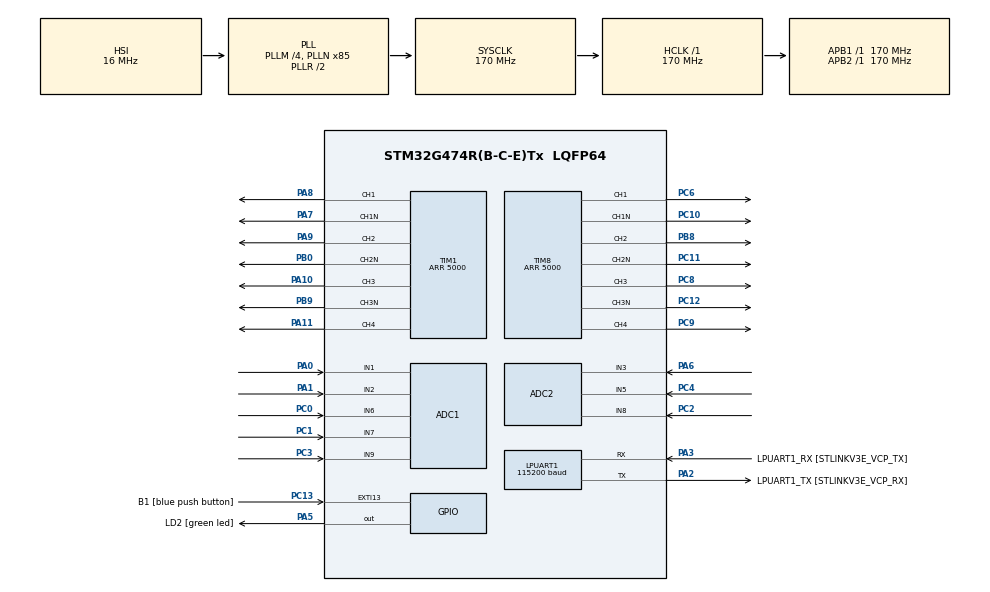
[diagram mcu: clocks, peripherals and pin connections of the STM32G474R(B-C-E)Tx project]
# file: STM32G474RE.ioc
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ADC1.Channel-0\#ChannelRegularConversion=ADC_CHANNEL_1
ADC1.EnableInjectedConversion=ENABLE
ADC1.ExternalTrigInjecConv=ADC_EXTERNALTRIGINJEC_T1_TRGO
ADC1.InjNumberOfConversion=3
ADC1.InjectedChannel-1\#ChannelInjectedConversion=ADC_CHANNEL_1
ADC1.InjectedChannel-2\#ChannelInjectedConversion=ADC_CHANNEL_7
ADC1.InjectedChannel-3\#ChannelInjectedConversion=ADC_CHANNEL_6
ADC1.InjectedOffsetNumber-1\#ChannelInjectedConversion=ADC_OFFSET_NONE
ADC1.InjectedOffsetNumber-2\#ChannelInjectedConversion=ADC_OFFSET_NONE
ADC1.InjectedOffsetNumber-3\#ChannelInjectedConversion=ADC_OFFSET_NONE
ADC1.InjectedRank-1\#ChannelInjectedConversion=1
ADC1.InjectedRank-2\#ChannelInjectedConversion=2
ADC1.InjectedRank-3\#ChannelInjectedConversion=3
ADC1.InjectedSamplingTime-1\#ChannelInjectedConversion=ADC_SAMPLETIME_2CYCLES_5
ADC1.InjectedSamplingTime-2\#ChannelInjectedConversion=ADC_SAMPLETIME_2CYCLES_5
ADC1.InjectedSamplingTime-3\#ChannelInjectedConversion=ADC_SAMPLETIME_2CYCLES_5
ADC1.NbrOfConversionFlag=1
ADC1.OffsetNumber-0\#ChannelRegularConversion=ADC_OFFSET_NONE
ADC1.Rank-0\#ChannelRegularConversion=1
ADC1.SamplingTime-0\#ChannelRegularConversion=ADC_SAMPLETIME_2CYCLES_5
ADC1.master=1
ADC2.Channel-0\#ChannelRegularConversion=ADC_CHANNEL_3
ADC2.EnableInjectedConversion=ENABLE
ADC2.ExternalTrigInjecConv=ADC_EXTERNALTRIGINJEC_T8_TRGO
ADC2.InjNumberOfConversion=3
ADC2.InjectedChannel-1\#ChannelInjectedConversion=ADC_CHANNEL_3
ADC2.InjectedChannel-2\#ChannelInjectedConversion=ADC_CHANNEL_5
ADC2.InjectedChannel-3\#ChannelInjectedConversion=ADC_CHANNEL_8
ADC2.InjectedOffsetNumber-1\#ChannelInjectedConversion=ADC_OFFSET_NONE
ADC2.InjectedOffsetNumber-2\#ChannelInjectedConversion=ADC_OFFSET_NONE
ADC2.InjectedOffsetNumber-3\#ChannelInjectedConversion=ADC_OFFSET_NONE
ADC2.InjectedRank-1\#ChannelInjectedConversion=1
ADC2.InjectedRank-2\#ChannelInjectedConversion=2
ADC2.InjectedRank-3\#ChannelInjectedConversion=3
ADC2.InjectedSamplingTime-1\#ChannelInjectedConversion=ADC_SAMPLETIME_2CYCLES_5
ADC2.InjectedSamplingTime-2\#ChannelInjectedConversion=ADC_SAMPLETIME_2CYCLES_5
ADC2.InjectedSamplingTime-3\#ChannelInjectedConversion=ADC_SAMPLETIME_2CYCLES_5
ADC2.NbrOfConversionFlag=1
ADC2.OffsetNumber-0\#ChannelRegularConversion=ADC_OFFSET_NONE
ADC2.Rank-0\#ChannelRegularConversion=1
ADC2.Rank3_Channel=ADC_CHANNEL_8
ADC2.SamplingTime-0\#ChannelRegularConversion=ADC_SAMPLETIME_2CYCLES_5
LPUART1.BaudRate=115200
LPUART1.WordLength=UART_WORDLENGTH_8B
Mcu.Family=STM32G4
Mcu.Name=STM32G474R(B-C-E)Tx
Mcu.Package=LQFP64
NVIC.ADC1_2_IRQn=true\:0\:0\:false\:false\:true\:true\:true\:true
NVIC.EXTI15_10_IRQn=true\:0\:0\:false\:false\:true\:true\:true\:true
NVIC.PriorityGroup=NVIC_PRIORITYGROUP_4
PA0.Mode=IN1-Single-Ended
PA0.Signal=ADC1_IN1
PA1.Mode=IN2-Single-Ended
PA1.Signal=ADC1_IN2
PA10.Signal=S_TIM1_CH3
PA11.Signal=S_TIM1_CH4
PA13.GPIO_Label=T_SWDIO
PA13.Mode=Serial_Wire
PA13.Signal=SYS_JTMS-SWDIO
PA14.GPIO_Label=T_SWCLK
PA14.Mode=Serial_Wire
PA14.Signal=SYS_JTCK-SWCLK
PA2.GPIO_Label=LPUART1_TX [STLINKV3E_VCP_RX]
PA2.Mode=Asynchronous
PA2.Signal=LPUART1_TX
PA3.GPIO_Label=LPUART1_RX [STLINKV3E_VCP_TX]
PA3.Mode=Asynchronous
PA3.Signal=LPUART1_RX
PA5.GPIO_Label=LD2 [green led]
PA5.Signal=GPIO_Output
PA6.Mode=IN3-Single-Ended
PA6.Signal=ADC2_IN3
PA7.Mode=PWM Generation1 CH1 CH1N
PA7.Signal=TIM1_CH1N
PA8.Signal=S_TIM1_CH1
PA9.Signal=S_TIM1_CH2
PB0.Mode=PWM Generation2 CH2 CH2N
PB0.Signal=TIM1_CH2N
PB3.GPIO_Label=T_SWO
PB3.Signal=SYS_JTDO-SWO
PB8-BOOT0.Signal=S_TIM8_CH2
PB9.Mode=PWM Generation3 CH3 CH3N
PB9.Signal=TIM1_CH3N
PC0.Mode=IN6-Single-Ended
PC0.Signal=ADC1_IN6
PC1.Mode=IN7-Single-Ended
PC1.Signal=ADC1_IN7
PC10.Mode=PWM Generation1 CH1 CH1N
PC10.Signal=TIM8_CH1N
PC11.Mode=PWM Generation2 CH2 CH2N
PC11.Signal=TIM8_CH2N
PC12.Mode=PWM Generation3 CH3 CH3N
PC12.Signal=TIM8_CH3N
PC13.GPIO_Label=B1 [blue push button]
PC13.Signal=GPXTI13
PC14-OSC32_IN.Mode=LSE-External-Oscillator
PC14-OSC32_IN.Signal=RCC_OSC32_IN
PC15-OSC32_OUT.Mode=LSE-External-Oscillator
PC15-OSC32_OUT.Signal=RCC_OSC32_OUT
PC2.Signal=SharedAnalog_PC2
PC3.Mode=IN9-Single-Ended
PC3.Signal=ADC1_IN9
PC4.Mode=IN5-Single-Ended
PC4.Signal=ADC2_IN5
PC6.Signal=S_TIM8_CH1
PC8.Signal=S_TIM8_CH3
PC9.Signal=S_TIM8_CH4
PF0-OSC_IN.Mode=HSE-External-Oscillator
PF0-OSC_IN.Signal=RCC_OSC_IN
PF1-OSC_OUT.Mode=HSE-External-Oscillator
PF1-OSC_OUT.Signal=RCC_OSC_OUT
ProjectManager.HeapSize=0x200
ProjectManager.StackSize=0x400
ProjectManager.TargetToolchain=STM32CubeIDE
RCC.ADC12Freq_Value=170000000
RCC.ADC345Freq_Value=170000000
RCC.AHBFreq_Value=170000000
RCC.APB1Freq_Value=170000000
RCC.APB1TimFreq_Value=170000000
RCC.APB2Freq_Value=170000000
RCC.APB2TimFreq_Value=170000000
RCC.CortexFreq_Value=170000000
RCC.EXTERNAL_CLOCK_VALUE=12288000
RCC.HCLKFreq_Value=170000000
RCC.HSE_VALUE=24000000
RCC.HSI48_VALUE=48000000
RCC.HSI_VALUE=16000000
RCC.PLLM=RCC_PLLM_DIV4
RCC.PLLN=85
RCC.RTCClockSelection=RCC_RTCCLKSOURCE_LSE
RCC.SYSCLKFreq_VALUE=170000000
RCC.SYSCLKSource=RCC_SYSCLKSOURCE_PLLCLK
RCC.USBFreq_Value=170000000
RCC.VCOOutputFreq_Value=340000000
SH.S_TIM1_CH1.0=TIM1_CH1,PWM Generation1 CH1 CH1N
SH.S_TIM1_CH2.0=TIM1_CH2,PWM Generation2 CH2 CH2N
SH.S_TIM1_CH3.0=TIM1_CH3,PWM Generation3 CH3 CH3N
SH.S_TIM1_CH4.0=TIM1_CH4,PWM Generation4 CH4
SH.S_TIM8_CH1.0=TIM8_CH1,PWM Generation1 CH1 CH1N
SH.S_TIM8_CH2.0=TIM8_CH2,PWM Generation2 CH2 CH2N
SH.S_TIM8_CH3.0=TIM8_CH3,PWM Generation3 CH3 CH3N
SH.S_TIM8_CH4.0=TIM8_CH4,PWM Generation4 CH4
SH.SharedAnalog_PC2.0=ADC1_IN8
SH.SharedAnalog_PC2.1=ADC2_IN8,IN8-Single-Ended
TIM1.Channel-PWM\ Generation1\ CH1\ CH1N=TIM_CHANNEL_1
TIM1.Channel-PWM\ Generation2\ CH2\ CH2N=TIM_CHANNEL_2
TIM1.Channel-PWM\ Generation3\ CH3\ CH3N=TIM_CHANNEL_3
TIM1.Channel-PWM\ Generation4\ CH4=TIM_CHANNEL_4
TIM1.CounterMode=TIM_COUNTERMODE_CENTERALIGNED1
TIM1.DeadTime=20
TIM1.PeriodNoDither=5000
TIM1.TIM_MasterOutputTrigger=TIM_TRGO_OC4REF
TIM8.Channel-PWM\ Generation1\ CH1\ CH1N=TIM_CHANNEL_1
TIM8.Channel-PWM\ Generation2\ CH2\ CH2N=TIM_CHANNEL_2
TIM8.Channel-PWM\ Generation3\ CH3\ CH3N=TIM_CHANNEL_3
TIM8.Channel-PWM\ Generation4\ CH4=TIM_CHANNEL_4
TIM8.CounterMode=TIM_COUNTERMODE_CENTERALIGNED1
TIM8.DeadTime=20
TIM8.OCMode_PWM-PWM\ Generation4\ CH4=TIM_OCMODE_PWM2
TIM8.PeriodNoDither=5000
TIM8.TIM_MasterOutputTrigger=TIM_TRGO_OC4REF
VP_SYS_VS_DBSignals.Mode=DisableDeadBatterySignals
board=NUCLEO-G474RE

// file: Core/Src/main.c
/* USER CODE BEGIN Header */
/**
  ******************************************************************************
  * @file           : main.c
  * @brief          : Main program body
  ******************************************************************************
  * @attention
  *
  * Copyright (c) 2024 STMicroelectronics.
  * All rights reserved.
  *
  * This software is licensed under terms that can be found in the LICENSE file
  * in the root directory of this software component.
  * If no LICENSE file comes with this software, it is provided AS-IS.
  *
  ******************************************************************************
  */
/* USER CODE END Header */
#include "main.h"

ADC_HandleTypeDef hadc1;
ADC_HandleTypeDef hadc2;

UART_HandleTypeDef hlpuart1;

TIM_HandleTypeDef htim1;
TIM_HandleTypeDef htim8;

void SystemClock_Config(void);
static void MX_GPIO_Init(void);
static void MX_LPUART1_UART_Init(void);
static void MX_ADC1_Init(void);
static void MX_ADC2_Init(void);
static void MX_TIM1_Init(void);
static void MX_TIM8_Init(void);

int main(void)
{

  /* MCU Configuration--------------------------------------------------------*/

  /* Reset of all peripherals, Initializes the Flash interface and the Systick. */
  HAL_Init();

  /* Configure the system clock */
  SystemClock_Config();

  /* Initialize all configured peripherals */
  MX_GPIO_Init();
  MX_LPUART1_UART_Init();
  MX_ADC1_Init();
  MX_ADC2_Init();
  MX_TIM1_Init();
  MX_TIM8_Init();
  /* USER CODE BEGIN 2 */
  HAL_TIM_Base_Start_IT(&htim1);
  HAL_ADCEx_InjectedStart_IT(&hadc1);
  HAL_TIM_PWM_Start(&htim1, TIM_CHANNEL_1);
  HAL_TIMEx_PWMN_Start(&htim1, TIM_CHANNEL_1);
  HAL_TIM_PWM_Start(&htim1, TIM_CHANNEL_2);
  HAL_TIMEx_PWMN_Start(&htim1, TIM_CHANNEL_2);
  HAL_TIM_PWM_Start(&htim1, TIM_CHANNEL_3);
  HAL_TIMEx_PWMN_Start(&htim1, TIM_CHANNEL_3);

  HAL_TIM_Base_Start_IT(&htim8);
  HAL_ADCEx_InjectedStart_IT(&hadc2);
  HAL_TIM_PWM_Start(&htim8, TIM_CHANNEL_1);
  HAL_TIMEx_PWMN_Start(&htim8, TIM_CHANNEL_1);
  HAL_TIM_PWM_Start(&htim8, TIM_CHANNEL_2);
  HAL_TIMEx_PWMN_Start(&htim8, TIM_CHANNEL_2);
  HAL_TIM_PWM_Start(&htim8, TIM_CHANNEL_3);
  HAL_TIMEx_PWMN_Start(&htim8, TIM_CHANNEL_3);

  // Set Duty Output Delay to Constant
  // https://digitalservo.jp/blogs/posts/2022/12/stm32-pwm-setting/
  TIM1 -> RCR = 1;
  TIM1 -> EGR  |= TIM_EGR_UG;
  TIM1 -> CNT = TIM1 -> ARR;
  TIM1 -> CR1 &= ~(TIM_CR1_CMS);
  TIM1 -> CR1 |= TIM_CR1_DIR;
  TIM1 -> CR1 |= TIM_CR1_CMS;
  TIM1 -> CCR4 = (TIM1 -> ARR) - 40;//for Carrier Top Interrupt

  TIM8 -> RCR = 1;
  TIM8 -> EGR  |= TIM_EGR_UG;
  TIM8 -> CNT = TIM8 -> ARR;
  TIM8 -> CR1 &= ~(TIM_CR1_CMS);
  TIM8 -> CR1 |= TIM_CR1_DIR;
  TIM8 -> CR1 |= TIM_CR1_CMS;
  TIM8 -> CCR4 = (TIM8 -> ARR) - 40;//for Carrier Top Interrupt

  /* USER CODE END 2 */

  /* Infinite loop */
  while (1)
  {

  }
}

void SystemClock_Config(void)
{
  RCC_OscInitTypeDef RCC_OscInitStruct = {0};
  RCC_ClkInitTypeDef RCC_ClkInitStruct = {0};

  /** Configure the main internal regulator output voltage
  */
  HAL_PWREx_ControlVoltageScaling(PWR_REGULATOR_VOLTAGE_SCALE1_BOOST);

  /** Initializes the RCC Oscillators according to the specified parameters
  * in the RCC_OscInitTypeDef structure.
  */
  RCC_OscInitStruct.OscillatorType = RCC_OSCILLATORTYPE_HSI;
  RCC_OscInitStruct.HSIState = RCC_HSI_ON;
  RCC_OscInitStruct.HSICalibrationValue = RCC_HSICALIBRATION_DEFAULT;
  RCC_OscInitStruct.PLL.PLLState = RCC_PLL_ON;
  RCC_OscInitStruct.PLL.PLLSource = RCC_PLLSOURCE_HSI;
  RCC_OscInitStruct.PLL.PLLM = RCC_PLLM_DIV4;
  RCC_OscInitStruct.PLL.PLLN = 85;
  RCC_OscInitStruct.PLL.PLLP = RCC_PLLP_DIV2;
  RCC_OscInitStruct.PLL.PLLQ = RCC_PLLQ_DIV2;
  RCC_OscInitStruct.PLL.PLLR = RCC_PLLR_DIV2;
  if (HAL_RCC_OscConfig(&RCC_OscInitStruct) != HAL_OK)
  {
    Error_Handler();
  }

  /** Initializes the CPU, AHB and APB buses clocks
  */
  RCC_ClkInitStruct.ClockType = RCC_CLOCKTYPE_HCLK|RCC_CLOCKTYPE_SYSCLK
                              |RCC_CLOCKTYPE_PCLK1|RCC_CLOCKTYPE_PCLK2;
  RCC_ClkInitStruct.SYSCLKSource = RCC_SYSCLKSOURCE_PLLCLK;
  RCC_ClkInitStruct.AHBCLKDivider = RCC_SYSCLK_DIV1;
  RCC_ClkInitStruct.APB1CLKDivider = RCC_HCLK_DIV1;
  RCC_ClkInitStruct.APB2CLKDivider = RCC_HCLK_DIV1;

  if (HAL_RCC_ClockConfig(&RCC_ClkInitStruct, FLASH_LATENCY_4) != HAL_OK)
  {
    Error_Handler();
  }
}

static void MX_ADC1_Init(void)
{

  ADC_MultiModeTypeDef multimode = {0};
  ADC_ChannelConfTypeDef sConfig = {0};
  ADC_InjectionConfTypeDef sConfigInjected = {0};

  /** Common config
  */
  hadc1.Instance = ADC1;
  hadc1.Init.ClockPrescaler = ADC_CLOCK_SYNC_PCLK_DIV4;
  hadc1.Init.Resolution = ADC_RESOLUTION_12B;
  hadc1.Init.DataAlign = ADC_DATAALIGN_RIGHT;
  hadc1.Init.GainCompensation = 0;
  hadc1.Init.ScanConvMode = ADC_SCAN_ENABLE;
  hadc1.Init.EOCSelection = ADC_EOC_SINGLE_CONV;
  hadc1.Init.LowPowerAutoWait = DISABLE;
  hadc1.Init.ContinuousConvMode = DISABLE;
  hadc1.Init.NbrOfConversion = 1;
  hadc1.Init.DiscontinuousConvMode = DISABLE;
  hadc1.Init.ExternalTrigConv = ADC_SOFTWARE_START;
  hadc1.Init.ExternalTrigConvEdge = ADC_EXTERNALTRIGCONVEDGE_NONE;
  hadc1.Init.DMAContinuousRequests = DISABLE;
  hadc1.Init.Overrun = ADC_OVR_DATA_PRESERVED;
  hadc1.Init.OversamplingMode = DISABLE;
  if (HAL_ADC_Init(&hadc1) != HAL_OK)
  {
    Error_Handler();
  }

  /** Configure the ADC multi-mode
  */
  multimode.Mode = ADC_MODE_INDEPENDENT;
  if (HAL_ADCEx_MultiModeConfigChannel(&hadc1, &multimode) != HAL_OK)
  {
    Error_Handler();
  }

  /** Configure Regular Channel
  */
  sConfig.Channel = ADC_CHANNEL_1;
  sConfig.Rank = ADC_REGULAR_RANK_1;
  sConfig.SamplingTime = ADC_SAMPLETIME_2CYCLES_5;
  sConfig.SingleDiff = ADC_SINGLE_ENDED;
  sConfig.OffsetNumber = ADC_OFFSET_NONE;
  sConfig.Offset = 0;
  if (HAL_ADC_ConfigChannel(&hadc1, &sConfig) != HAL_OK)
  {
    Error_Handler();
  }

  /** Configure Injected Channel
  */
  sConfigInjected.InjectedChannel = ADC_CHANNEL_1;
  sConfigInjected.InjectedRank = ADC_INJECTED_RANK_1;
  sConfigInjected.InjectedSamplingTime = ADC_SAMPLETIME_2CYCLES_5;
  sConfigInjected.InjectedSingleDiff = ADC_SINGLE_ENDED;
  sConfigInjected.InjectedOffsetNumber = ADC_OFFSET_NONE;
  sConfigInjected.InjectedOffset = 0;
  sConfigInjected.InjectedNbrOfConversion = 3;
  sConfigInjected.InjectedDiscontinuousConvMode = DISABLE;
  sConfigInjected.AutoInjectedConv = DISABLE;
  sConfigInjected.QueueInjectedContext = DISABLE;
  sConfigInjected.ExternalTrigInjecConv = ADC_EXTERNALTRIGINJEC_T1_TRGO;
  sConfigInjected.ExternalTrigInjecConvEdge = ADC_EXTERNALTRIGINJECCONV_EDGE_RISING;
  sConfigInjected.InjecOversamplingMode = DISABLE;
  if (HAL_ADCEx_InjectedConfigChannel(&hadc1, &sConfigInjected) != HAL_OK)
  {
    Error_Handler();
  }

  /** Configure Injected Channel
  */
  sConfigInjected.InjectedChannel = ADC_CHANNEL_7;
  sConfigInjected.InjectedRank = ADC_INJECTED_RANK_2;
  if (HAL_ADCEx_InjectedConfigChannel(&hadc1, &sConfigInjected) != HAL_OK)
  {
    Error_Handler();
  }

  /** Configure Injected Channel
  */
  sConfigInjected.InjectedChannel = ADC_CHANNEL_6;
  sConfigInjected.InjectedRank = ADC_INJECTED_RANK_3;
  if (HAL_ADCEx_InjectedConfigChannel(&hadc1, &sConfigInjected) != HAL_OK)
  {
    Error_Handler();
  }

}

static void MX_ADC2_Init(void)
{

  ADC_ChannelConfTypeDef sConfig = {0};
  ADC_InjectionConfTypeDef sConfigInjected = {0};

  /** Common config
  */
  hadc2.Instance = ADC2;
  hadc2.Init.ClockPrescaler = ADC_CLOCK_SYNC_PCLK_DIV4;
  hadc2.Init.Resolution = ADC_RESOLUTION_12B;
  hadc2.Init.DataAlign = ADC_DATAALIGN_RIGHT;
  hadc2.Init.GainCompensation = 0;
  hadc2.Init.ScanConvMode = ADC_SCAN_ENABLE;
  hadc2.Init.EOCSelection = ADC_EOC_SINGLE_CONV;
  hadc2.Init.LowPowerAutoWait = DISABLE;
  hadc2.Init.ContinuousConvMode = DISABLE;
  hadc2.Init.NbrOfConversion = 1;
  hadc2.Init.DiscontinuousConvMode = DISABLE;
  hadc2.Init.ExternalTrigConv = ADC_SOFTWARE_START;
  hadc2.Init.ExternalTrigConvEdge = ADC_EXTERNALTRIGCONVEDGE_NONE;
  hadc2.Init.DMAContinuousRequests = DISABLE;
  hadc2.Init.Overrun = ADC_OVR_DATA_PRESERVED;
  hadc2.Init.OversamplingMode = DISABLE;
  if (HAL_ADC_Init(&hadc2) != HAL_OK)
  {
    Error_Handler();
  }

  /** Configure Regular Channel
  */
  sConfig.Channel = ADC_CHANNEL_3;
  sConfig.Rank = ADC_REGULAR_RANK_1;
  sConfig.SamplingTime = ADC_SAMPLETIME_2CYCLES_5;
  sConfig.SingleDiff = ADC_SINGLE_ENDED;
  sConfig.OffsetNumber = ADC_OFFSET_NONE;
  sConfig.Offset = 0;
  if (HAL_ADC_ConfigChannel(&hadc2, &sConfig) != HAL_OK)
  {
    Error_Handler();
  }

  /** Configure Injected Channel
  */
  sConfigInjected.InjectedChannel = ADC_CHANNEL_3;
  sConfigInjected.InjectedRank = ADC_INJECTED_RANK_1;
  sConfigInjected.InjectedSamplingTime = ADC_SAMPLETIME_2CYCLES_5;
  sConfigInjected.InjectedSingleDiff = ADC_SINGLE_ENDED;
  sConfigInjected.InjectedOffsetNumber = ADC_OFFSET_NONE;
  sConfigInjected.InjectedOffset = 0;
  sConfigInjected.InjectedNbrOfConversion = 3;
  sConfigInjected.InjectedDiscontinuousConvMode = DISABLE;
  sConfigInjected.AutoInjectedConv = DISABLE;
  sConfigInjected.QueueInjectedContext = DISABLE;
  sConfigInjected.ExternalTrigInjecConv = ADC_EXTERNALTRIGINJEC_T8_TRGO;
  sConfigInjected.ExternalTrigInjecConvEdge = ADC_EXTERNALTRIGINJECCONV_EDGE_RISING;
  sConfigInjected.InjecOversamplingMode = DISABLE;
  if (HAL_ADCEx_InjectedConfigChannel(&hadc2, &sConfigInjected) != HAL_OK)
  {
    Error_Handler();
  }

  /** Configure Injected Channel
  */
  sConfigInjected.InjectedChannel = ADC_CHANNEL_5;
  sConfigInjected.InjectedRank = ADC_INJECTED_RANK_2;
  if (HAL_ADCEx_InjectedConfigChannel(&hadc2, &sConfigInjected) != HAL_OK)
  {
    Error_Handler();
  }

  /** Configure Injected Channel
  */
  sConfigInjected.InjectedChannel = ADC_CHANNEL_8;
  sConfigInjected.InjectedRank = ADC_INJECTED_RANK_3;
  if (HAL_ADCEx_InjectedConfigChannel(&hadc2, &sConfigInjected) != HAL_OK)
  {
    Error_Handler();
  }

}

static void MX_LPUART1_UART_Init(void)
{

  hlpuart1.Instance = LPUART1;
  hlpuart1.Init.BaudRate = 115200;
  hlpuart1.Init.WordLength = UART_WORDLENGTH_8B;
  hlpuart1.Init.StopBits = UART_STOPBITS_1;
  hlpuart1.Init.Parity = UART_PARITY_NONE;
  hlpuart1.Init.Mode = UART_MODE_TX_RX;
  hlpuart1.Init.HwFlowCtl = UART_HWCONTROL_NONE;
  hlpuart1.Init.OneBitSampling = UART_ONE_BIT_SAMPLE_DISABLE;
  hlpuart1.Init.ClockPrescaler = UART_PRESCALER_DIV1;
  hlpuart1.AdvancedInit.AdvFeatureInit = UART_ADVFEATURE_NO_INIT;
  if (HAL_UART_Init(&hlpuart1) != HAL_OK)
  {
    Error_Handler();
  }
  if (HAL_UARTEx_SetTxFifoThreshold(&hlpuart1, UART_TXFIFO_THRESHOLD_1_8) != HAL_OK)
  {
    Error_Handler();
  }
  if (HAL_UARTEx_SetRxFifoThreshold(&hlpuart1, UART_RXFIFO_THRESHOLD_1_8) != HAL_OK)
  {
    Error_Handler();
  }
  if (HAL_UARTEx_DisableFifoMode(&hlpuart1) != HAL_OK)
  {
    Error_Handler();
  }

}

static void MX_TIM1_Init(void)
{

  TIM_MasterConfigTypeDef sMasterConfig = {0};
  TIM_OC_InitTypeDef sConfigOC = {0};
  TIM_BreakDeadTimeConfigTypeDef sBreakDeadTimeConfig = {0};

  htim1.Instance = TIM1;
  htim1.Init.Prescaler = 0;
  htim1.Init.CounterMode = TIM_COUNTERMODE_CENTERALIGNED1;
  htim1.Init.Period = 5000;
  htim1.Init.ClockDivision = TIM_CLOCKDIVISION_DIV1;
  htim1.Init.RepetitionCounter = 0;
  htim1.Init.AutoReloadPreload = TIM_AUTORELOAD_PRELOAD_DISABLE;
  if (HAL_TIM_PWM_Init(&htim1) != HAL_OK)
  {
    Error_Handler();
  }
  sMasterConfig.MasterOutputTrigger = TIM_TRGO_OC4REF;
  sMasterConfig.MasterOutputTrigger2 = TIM_TRGO2_RESET;
  sMasterConfig.MasterSlaveMode = TIM_MASTERSLAVEMODE_DISABLE;
  if (HAL_TIMEx_MasterConfigSynchronization(&htim1, &sMasterConfig) != HAL_OK)
  {
    Error_Handler();
  }
  sConfigOC.OCMode = TIM_OCMODE_PWM1;
  sConfigOC.Pulse = 0;
  sConfigOC.OCPolarity = TIM_OCPOLARITY_HIGH;
  sConfigOC.OCNPolarity = TIM_OCNPOLARITY_HIGH;
  sConfigOC.OCFastMode = TIM_OCFAST_DISABLE;
  sConfigOC.OCIdleState = TIM_OCIDLESTATE_RESET;
  sConfigOC.OCNIdleState = TIM_OCNIDLESTATE_RESET;
  if (HAL_TIM_PWM_ConfigChannel(&htim1, &sConfigOC, TIM_CHANNEL_1) != HAL_OK)
  {
    Error_Handler();
  }
  if (HAL_TIM_PWM_ConfigChannel(&htim1, &sConfigOC, TIM_CHANNEL_2) != HAL_OK)
  {
    Error_Handler();
  }
  if (HAL_TIM_PWM_ConfigChannel(&htim1, &sConfigOC, TIM_CHANNEL_3) != HAL_OK)
  {
    Error_Handler();
  }
  if (HAL_TIM_PWM_ConfigChannel(&htim1, &sConfigOC, TIM_CHANNEL_4) != HAL_OK)
  {
    Error_Handler();
  }
  sBreakDeadTimeConfig.OffStateRunMode = TIM_OSSR_DISABLE;
  sBreakDeadTimeConfig.OffStateIDLEMode = TIM_OSSI_DISABLE;
  sBreakDeadTimeConfig.LockLevel = TIM_LOCKLEVEL_OFF;
  sBreakDeadTimeConfig.DeadTime = 20;
  sBreakDeadTimeConfig.BreakState = TIM_BREAK_DISABLE;
  sBreakDeadTimeConfig.BreakPolarity = TIM_BREAKPOLARITY_HIGH;
  sBreakDeadTimeConfig.BreakFilter = 0;
  sBreakDeadTimeConfig.BreakAFMode = TIM_BREAK_AFMODE_INPUT;
  sBreakDeadTimeConfig.Break2State = TIM_BREAK2_DISABLE;
  sBreakDeadTimeConfig.Break2Polarity = TIM_BREAK2POLARITY_HIGH;
  sBreakDeadTimeConfig.Break2Filter = 0;
  sBreakDeadTimeConfig.Break2AFMode = TIM_BREAK_AFMODE_INPUT;
  sBreakDeadTimeConfig.AutomaticOutput = TIM_AUTOMATICOUTPUT_DISABLE;
  if (HAL_TIMEx_ConfigBreakDeadTime(&htim1, &sBreakDeadTimeConfig) != HAL_OK)
  {
    Error_Handler();
  }
  HAL_TIM_MspPostInit(&htim1);

}

static void MX_TIM8_Init(void)
{

  TIM_MasterConfigTypeDef sMasterConfig = {0};
  TIM_OC_InitTypeDef sConfigOC = {0};
  TIM_BreakDeadTimeConfigTypeDef sBreakDeadTimeConfig = {0};

  htim8.Instance = TIM8;
  htim8.Init.Prescaler = 0;
  htim8.Init.CounterMode = TIM_COUNTERMODE_CENTERALIGNED1;
  htim8.Init.Period = 5000;
  htim8.Init.ClockDivision = TIM_CLOCKDIVISION_DIV1;
  htim8.Init.RepetitionCounter = 0;
  htim8.Init.AutoReloadPreload = TIM_AUTORELOAD_PRELOAD_DISABLE;
  if (HAL_TIM_PWM_Init(&htim8) != HAL_OK)
  {
    Error_Handler();
  }
  sMasterConfig.MasterOutputTrigger = TIM_TRGO_OC4REF;
  sMasterConfig.MasterOutputTrigger2 = TIM_TRGO2_RESET;
  sMasterConfig.MasterSlaveMode = TIM_MASTERSLAVEMODE_DISABLE;
  if (HAL_TIMEx_MasterConfigSynchronization(&htim8, &sMasterConfig) != HAL_OK)
  {
    Error_Handler();
  }
  sConfigOC.OCMode = TIM_OCMODE_PWM1;
  sConfigOC.Pulse = 0;
  sConfigOC.OCPolarity = TIM_OCPOLARITY_HIGH;
  sConfigOC.OCNPolarity = TIM_OCNPOLARITY_HIGH;
  sConfigOC.OCFastMode = TIM_OCFAST_DISABLE;
  sConfigOC.OCIdleState = TIM_OCIDLESTATE_RESET;
  sConfigOC.OCNIdleState = TIM_OCNIDLESTATE_RESET;
  if (HAL_TIM_PWM_ConfigChannel(&htim8, &sConfigOC, TIM_CHANNEL_1) != HAL_OK)
  {
    Error_Handler();
  }
  if (HAL_TIM_PWM_ConfigChannel(&htim8, &sConfigOC, TIM_CHANNEL_2) != HAL_OK)
  {
    Error_Handler();
  }
  if (HAL_TIM_PWM_ConfigChannel(&htim8, &sConfigOC, TIM_CHANNEL_3) != HAL_OK)
  {
    Error_Handler();
  }
  sConfigOC.OCMode = TIM_OCMODE_PWM2;
  if (HAL_TIM_PWM_ConfigChannel(&htim8, &sConfigOC, TIM_CHANNEL_4) != HAL_OK)
  {
    Error_Handler();
  }
  sBreakDeadTimeConfig.OffStateRunMode = TIM_OSSR_DISABLE;
  sBreakDeadTimeConfig.OffStateIDLEMode = TIM_OSSI_DISABLE;
  sBreakDeadTimeConfig.LockLevel = TIM_LOCKLEVEL_OFF;
  sBreakDeadTimeConfig.DeadTime = 20;
  sBreakDeadTimeConfig.BreakState = TIM_BREAK_DISABLE;
  sBreakDeadTimeConfig.BreakPolarity = TIM_BREAKPOLARITY_HIGH;
  sBreakDeadTimeConfig.BreakFilter = 0;
  sBreakDeadTimeConfig.BreakAFMode = TIM_BREAK_AFMODE_INPUT;
  sBreakDeadTimeConfig.Break2State = TIM_BREAK2_DISABLE;
  sBreakDeadTimeConfig.Break2Polarity = TIM_BREAK2POLARITY_HIGH;
  sBreakDeadTimeConfig.Break2Filter = 0;
  sBreakDeadTimeConfig.Break2AFMode = TIM_BREAK_AFMODE_INPUT;
  sBreakDeadTimeConfig.AutomaticOutput = TIM_AUTOMATICOUTPUT_DISABLE;
  if (HAL_TIMEx_ConfigBreakDeadTime(&htim8, &sBreakDeadTimeConfig) != HAL_OK)
  {
    Error_Handler();
  }
  HAL_TIM_MspPostInit(&htim8);

}

static void MX_GPIO_Init(void)
{
  GPIO_InitTypeDef GPIO_InitStruct = {0};

  /* GPIO Ports Clock Enable */
  __HAL_RCC_GPIOC_CLK_ENABLE();
  __HAL_RCC_GPIOF_CLK_ENABLE();
  __HAL_RCC_GPIOA_CLK_ENABLE();
  __HAL_RCC_GPIOB_CLK_ENABLE();

  /*Configure GPIO pin Output Level */
  HAL_GPIO_WritePin(LD2_GPIO_Port, LD2_Pin, GPIO_PIN_RESET);

  /*Configure GPIO pin : B1_Pin */
  GPIO_InitStruct.Pin = B1_Pin;
  GPIO_InitStruct.Mode = GPIO_MODE_IT_RISING;
  GPIO_InitStruct.Pull = GPIO_NOPULL;
  HAL_GPIO_Init(B1_GPIO_Port, &GPIO_InitStruct);

  /*Configure GPIO pin : LD2_Pin */
  GPIO_InitStruct.Pin = LD2_Pin;
  GPIO_InitStruct.Mode = GPIO_MODE_OUTPUT_PP;
  GPIO_InitStruct.Pull = GPIO_NOPULL;
  GPIO_InitStruct.Speed = GPIO_SPEED_FREQ_LOW;
  HAL_GPIO_Init(LD2_GPIO_Port, &GPIO_InitStruct);

  /* EXTI interrupt init*/
  HAL_NVIC_SetPriority(EXTI15_10_IRQn, 0, 0);
  HAL_NVIC_EnableIRQ(EXTI15_10_IRQn);

}

void Error_Handler(void)
{
  __disable_irq();
  while (1)
  {
  }
}
